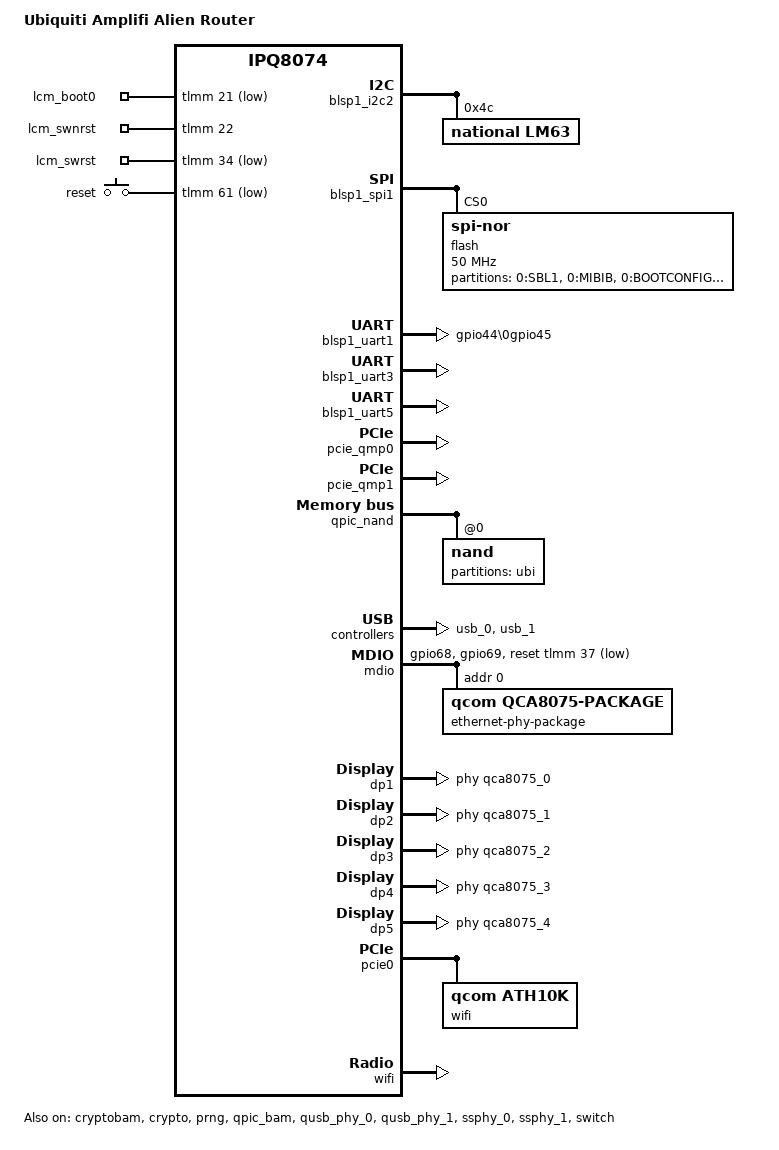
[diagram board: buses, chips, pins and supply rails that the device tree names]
// SPDX-License-Identifier: GPL-2.0-or-later OR MIT
/* Copyright (c) 2022, Robert Marko <robimarko@gmail.com>
altered by Jonathan Brophy <professor_jonny@hotmail.com>
to suit the Ubiquiti Amplifi Alien Router target */

/dts-v1/;

#include "ipq8074.dtsi"
#include "ipq8074-hk-cpu.dtsi"
#include "ipq8074-ess.dtsi"
#include <dt-bindings/gpio/gpio.h>
#include <dt-bindings/input/input.h>
#include <dt-bindings/leds/common.h>

/ {
	model = "Ubiquiti Amplifi Alien Router";
	compatible = "ubiquiti,afi-aln-r", "qcom,ipq8074";

	aliases {
		ethernet0 = &dp1;
		ethernet1 = &dp2;
		ethernet2 = &dp3;
		ethernet3 = &dp4;
		ethernet4 = &dp5;
		serial0 = &blsp1_uart5;
		serial1 = &blsp1_uart3;
		serial2 = &blsp1_uart1;
	};

	chosen {
		stdout-path = "serial0:115200n8";
		bootargs-append = " ubi.mtd=rootfs rootfstype=squashfs root=/dev/ubiblock0_0";
	};

	lcm_boot0 {
		compatible = "gpio-export";
		pinctrl-names = "default";
		pinctrl-0 = <&lcm_pins>;

		/*	stm32 based local control module io control lines disciption:

				# Enter DFU mode for lcm module to upload firmware via usb.
				echo 1 > /sys/class/gpio/gpio${GPIO_DFU}/value
				echo 0 > /sys/class/gpio/gpio${GPIO_NRST}/value
				echo 1 > /sys/class/gpio/gpio${GPIO_RST}/value
				sleep 1
				echo 1 > /sys/class/gpio/gpio${GPIO_NRST}/value
				echo 0 > /sys/class/gpio/gpio${GPIO_RST}/value

				# Reset to normal mode
				echo 0 > /sys/class/gpio/gpio${GPIO_NRST}/value
				echo 1 > /sys/class/gpio/gpio${GPIO_RST}/value
				echo 0 > /sys/class/gpio/gpio${GPIO_DFU}/value
				sleep 1
				echo 1 > /sys/class/gpio/gpio${GPIO_NRST}/value
				echo 0 > /sys/class/gpio/gpio${GPIO_RST}/value */


		lcm_boot0 {
			gpio-export,name = "lcm_boot0";
			gpio-export,output = <0>;
			gpios = <&tlmm 21 GPIO_ACTIVE_LOW>; /* stm32 boot0 pin on lcm module */
		};

		lcm_swnrst {
			gpio-export,name = "lcm_swnrst";
			gpio-export,output = <1>;
			gpios = <&tlmm 22 GPIO_ACTIVE_HIGH>; /* stm32 nrst pin on lsm module */
		};

		lcm_swrst {
			gpio-export,name = "lcm_swrst";
			gpio-export,output = <0>;
			gpios = <&tlmm 34 GPIO_ACTIVE_LOW>; /* lcm module reset */
		};
	};


	gpio_keys {
		compatible = "gpio-keys";
		pinctrl-0 = <&button_pins>;
		pinctrl-names = "default";

		reset_button {
			label = "reset";
			gpios = <&tlmm 61 GPIO_ACTIVE_LOW>; /*reset button output*/
			linux,code = <KEY_RESTART>;
		};
	};
};

&tlmm {
	button_pins: button-state {
		pins = "gpio61";
		function = "gpio";
		drive-strength = <8>;
		bias-pull-up;
	};

	lcm_pins: lcm_ctrl_pins {
		lcm_boot0 {
			pins = "gpio21";
			function = "gpio";
			drive-strength = <10>;
			bias-pull-down;
			output-low;
		};

		lcm_swnrst {
			pins = "gpio22";
			function = "gpio";
			drive-strength = <10>;
			bias-pull-up;
			output-high;
		};

		lcm_swrst {
			pins = "gpio34";
			function = "gpio";
			drive-strength = <10>;
			bias-pull-down;
			output-low;
		};
	};

	lcm_uart_pins: blsp1_spi1_pins { /* uart for display module */
		mux {
			pins = "gpio44\0gpio45";
			function = "blsp1_uart";
			drive-strength = <8>;
			bias-disable;
		};
	};


	btcoex_pins: btcoex_pins {/* bluetooth coexistance control pins */
		mux_0 {
			pins = "gpio64";
			function = "pta1_1";
			drive-strength = <6>;
			bias-pull-down;
		};

		mux_1 {
			pins = "gpio65";
			function = "pta1_2";
			drive-strength = <6>;
			bias-pull-down;
		};

		mux_2 {
			pins = "gpio66";
			function = "pta1_0";
			drive-strength = <6>;
			bias-pull-down;
		};

		mux_3 {
			pins = "gpio54";
			function = "pta2_0";
			drive-strength = <6>;
			bias-pull-down;
		};

		mux_4 {
			pins = "gpio55";
			function = "pta2_1";
			drive-strength = <6>;
			bias-pull-down;
		};

		mux_5 {
			pins = "gpio56";
			function = "pta2_2";
			drive-strength = <6>;
			bias-pull-down;
		};
	};

	ledc_pins: ledc_pinmux {  /* i think this is disabled in the stock dts */
		led_clk {
			pins = "gpio18";
			function = "gpio";
			drive-strength = <8>;
			bias-pull-down;
		};

		led_data {
			pins = "gpio19";
			function = "gpio";
			drive-strength = <8>;
			bias-pull-down;
		};

		led_clr {
			pins = "gpio20";
			function = "gpio";
			drive-strength = <8>;
			bias-pull-up;
		};
	};

	mdio_pins: mdio-pins {
		mdc {
			pins = "gpio68";
			function = "mdc";
			drive-strength = <8>;
			bias-pull-up;
		};

		mdio {
			pins = "gpio69";
			function = "mdio";
			drive-strength = <8>;
			bias-pull-up;
		};
	};
};

&blsp1_i2c2 {
	pinctrl-0 = <&i2c_0_pins>;
	pinctrl-names = "default";
	status = "okay";

	lm63@4c {
		compatible = "national,lm63";
		reg = <0x4c>;
		tachometer-en = <0x01>;
		pwm-polarity = <0x00>;
	};
};


&blsp1_spi1 {
	pinctrl-0 = <&spi_0_pins>;
	pinctrl-names = "default";
	cs-gpios = <0>;
	status = "okay";

	/*
	 * Bootloader will find the NAND DT node by the compatible and
	 * then "fixup" it by adding the partitions from the SMEM table
	 * using the legacy bindings thus making it impossible for us
	 * to change the partition table or utilize NVMEM for calibration.
	 * So add a dummy partitions node that bootloader will populate
	 * and set it as disabled so the kernel ignores it instead of
	 * printing warnings due to the broken way bootloader adds the
	 * partitions.
	 */
	partitions {
		status = "disabled";
	};

	flash@0 { /* mx25u6435f spi nor flash chip*/
		#address-cells = <1>;
		#size-cells = <1>;
		reg = <0>;
		compatible = "jedec,spi-nor";
		spi-max-frequency = <50000000>;

		partitions {
			compatible = "fixed-partitions";
			#address-cells = <1>;
			#size-cells = <1>;

			SBL1@0 {
				label = "0:SBL1";
				reg = <0x00 0x50000>;
				read-only;
			};

			MIBIB@50000 {
				label = "0:MIBIB";
				reg = <0x50000 0x10000>;
				read-only;
			};

			BOOTCONFIG@60000 {
				label = "0:BOOTCONFIG";
				reg = <0x60000 0x20000>;
				read-only;
			};

			BOOTCONFIG1@80000 {
				label = "0:BOOTCONFIG1";
				reg = <0x80000 0x20000>;
				read-only;
			};

			QSEE@a0000 {
				label = "0:QSEE";
				reg = <0xa0000 0x180000>;
				read-only;
			};

			QSEE_1@220000 {
				label = "0:QSEE_1";
				reg = <0x220000 0x180000>;
				read-only;
			};

			DEVCFG@3a0000 {
				label = "0:DEVCFG";
				reg = <0x3a0000 0x10000>;
				read-only;
			};

			DEVCFG_1@3b0000 {
				label = "0:DEVCFG_1";
				reg = <0x3b0000 0x10000>;
				read-only;
			};

			APDP@3c0000 {
				label = "0:APDP";
				reg = <0x3c0000 0x10000>;
				read-only;
			};

			APDP_1@3d0000 {
				label = "0:APDP_1";
				reg = <0x3d0000 0x10000>;
				read-only;
			};

			RPM@3e0000 {
				label = "0:RPM";
				reg = <0x3e0000 0x40000>;
				read-only;
			};

			RPM_1@420000 {
				label = "0:RPM_1";
				reg = <0x420000 0x40000>;
				read-only;
			};

			CDT@460000 {
				label = "0:CDT";
				reg = <0x460000 0x10000>;
				read-only;
			};

			CDT_1@470000 {
				label = "0:CDT_1";
				reg = <0x470000 0x10000>;
				read-only;
			};

			APPSBLENV@250000 {
				label = "0:u-boot-env";
				reg = <0x480000 0x10000>;
			};

			APPSBL@490000 {
				label = "0:u-boot";
				reg = <0x490000 0xa0000>;
			};

			APPSBL_1@530000 {
				label = "0:u-boot2";
				reg = <0x530000 0xa0000>;
			};

			ART@5d0000 {
				label = "0:ART";
				reg = <0x5d0000 0x40000>;
				read-only;
			};

			eeprom@610000 {
				label = "0:eeprom";
				reg = <0x610000 0x10000>;
			};

			reserved@620000 {
				label = "0:reserved";
				reg = <0x620000 0x70000>;
				read-only;
			};

			prst@690000 {
				label = "0:prst";
				reg = <0x690000 0x10000>;

				nvmem-layout {
					compatible = "fixed-layout";
					#address-cells = <1>;
					#size-cells = <1>;

					label_mac: label_mac@d1 {
						compatible = "mac-base";
						reg = <0xD1 0x11>;
						#nvmem-cell-cells = <1>;
					};

					wan_mac: wan_mac@104 {
						compatible = "mac-base";
						reg = <0x104 0x11>;
						#nvmem-cell-cells = <1>;
					};

					caldata_qca9984: caldata@33000 {
						reg = <0x33000 0x2f20>;
						/* bogus address will need fixing*/
						/* not present on EU model */
					};
				};
			};
		};
	};
};

&blsp1_uart1 {
	pinctrl-0 = <&lcm_uart_pins>; /* change default pins for uart */
	pinctrl-names = "default";
	status = "okay";
};

&blsp1_uart3 {
	status = "okay";
};

&blsp1_uart5 {
	status = "okay";
};

&cryptobam {
	status = "okay";
};

&crypto {
	status = "okay";
};

&pcie_qmp0 {
	status = "okay";
};

&pcie_qmp1 {
	status = "okay";
};

&prng {
	status = "okay";
};

&qpic_bam {
	status = "okay";
};

&qpic_nand {
	status = "okay";

	nand@0 { /* W29N02GZ 256mb nand*/
		reg = <0>;
		nand-ecc-strength = <4>;
		nand-ecc-step-size = <512>;
		nand-bus-width = <8>;

		// nand set as fixed partitions as smem seems to populate it incorrectly ?

		partitions {
			// compatible = "qcom,smem-part"; /* define SMEM partition table */
			compatible = "fixed-partitions"; /* define fixed partition table */
			#address-cells = <0x01>;
			#size-cells = <0x01>;

			ubi@0 {
				compatible = "linux,ubi";
				label = "ubi";
				reg = <0x00 0x010000000>;
			};
		};
	};
};

&qusb_phy_0 {
	status = "okay";
};

&qusb_phy_1 {
	status = "okay";
};

&ssphy_0 {
	status = "okay";
};

&ssphy_1 {
	status = "okay";
};

&usb_0 {
	status = "okay";
};

&usb_1 {
	status = "okay";
};

&mdio {
	status = "okay";

	pinctrl-0 = <&mdio_pins>;
	pinctrl-names = "default";
	reset-gpios = <&tlmm 37 GPIO_ACTIVE_LOW>;

	ethernet-phy-package@0 {
		#address-cells = <1>;
		#size-cells = <0>;
		reg = <0>;

		compatible = "qcom,qca8075-package";

		qca8075_0: ethernet-phy@0 {
			compatible = "ethernet-phy-ieee802.3-c22";
			reg = <0>;
		};

		qca8075_1: ethernet-phy@1 {
			compatible = "ethernet-phy-ieee802.3-c22";
			reg = <1>;
		};

		qca8075_2: ethernet-phy@2 {
			compatible = "ethernet-phy-ieee802.3-c22";
			reg = <2>;
		};

		qca8075_3: ethernet-phy@3 {
			compatible = "ethernet-phy-ieee802.3-c22";
			reg = <3>;
		};

		qca8075_4: ethernet-phy@4 {
			compatible = "ethernet-phy-ieee802.3-c22";
			reg = <4>;
		};
	};
};

&switch {
	status = "okay";

	switch_lan_bmp = <(ESS_PORT1 |ESS_PORT2 | ESS_PORT3 | ESS_PORT4 | ESS_PORT4)>; /* lan port bitmap */
	switch_wan_bmp = <ESS_PORT5>; /* wan port bitmap */
	switch_mac_mode = <MAC_MODE_PSGMII>; /* mac mode for uniphy instance*/

	qcom,port_phyinfo {
		port@1 {
			port_id = <1>;
			phy_address = <0>;
		};
		port@2 {
			port_id = <2>;
			phy_address = <1>;
		};
		port@3 {
			port_id = <3>;
			phy_address = <2>;
		};
		port@4 {
			port_id = <4>;
			phy_address = <3>;
		};
		port@5 {
			port_id = <5>;
			phy_address = <4>;
		};
	};
};

&edma {
	status = "okay";
};

&dp1 {
	status = "okay";
	phy-handle = <&qca8075_0>;
	label = "lan1";
	nvmem-cells = <&label_mac 0>;
	nvmem-cell-names = "mac-address";
};

&dp2 {
	status = "okay";
	phy-handle = <&qca8075_1>;
	label = "lan2";
	nvmem-cells = <&label_mac 1>;
	nvmem-cell-names = "mac-address";
};

&dp3 {
	status = "okay";
	phy-handle = <&qca8075_2>;
	label = "lan3";
	nvmem-cells = <&label_mac 2>;
	nvmem-cell-names = "mac-address";
};

&dp4 {
	status = "okay";
	phy-handle = <&qca8075_3>;
	label = "lan4";
	nvmem-cells = <&label_mac 3>;
	nvmem-cell-names = "mac-address";
};

&dp5 {
	status = "okay";
	phy-handle = <&qca8075_4>;
	label = "wan";
	nvmem-cells = <&wan_mac 0>;
	nvmem-cell-names = "mac-address";
};

&pcie0 {
	status = "okay"; /* extra pcie wi-fi card is only fitted for US market model */

	perst-gpio = <&tlmm 58 GPIO_ACTIVE_LOW>;


	bridge@0,0 {
		reg = <0x00000000 0 0 0 0>;
		#address-cells = <3>;
		#size-cells = <2>;
		ranges;

		wifi@1,0 {
			status = "okay";

			compatible = "qcom,ath10k";
			reg = <0x00010000 0 0 0 0>;

			nvmem-cells = <&caldata_qca9984>;
			nvmem-cell-names = "pre-calibration";

		};
	};
};

&pcie0 {
	status = "okay";
	perst-gpios = <&tlmm 62 GPIO_ACTIVE_LOW>;
		 /* gpio 61 is in oem dts and it is used for the reset button, muck-up by ubiquiti? seems to be 62 in other devices */
};

&wifi {
	status = "okay";
	qcom,ath11k-calibration-variant = "ubiquiti_afi-aln-r";
	nvmem-cells = <&label_mac 4>;
	nvmem-cell-names = "mac-address";
};
